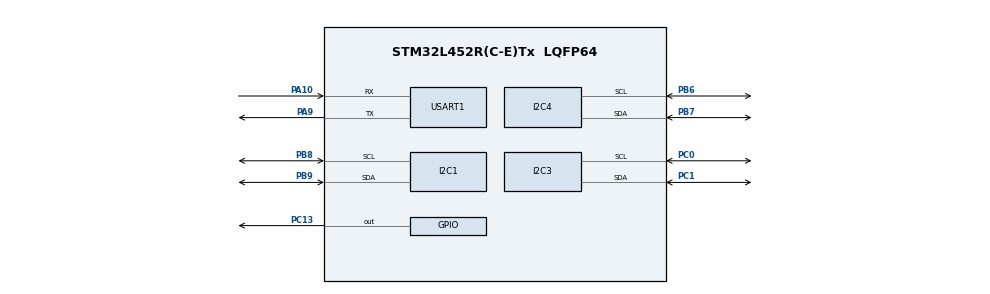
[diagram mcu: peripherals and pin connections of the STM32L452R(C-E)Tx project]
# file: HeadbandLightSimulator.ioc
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Mcu.Family=STM32L4
Mcu.Name=STM32L452R(C-E)Tx
Mcu.Package=LQFP64
NVIC.PriorityGroup=NVIC_PRIORITYGROUP_4
PA10.Mode=Asynchronous
PA10.Signal=USART1_RX
PA13\ (JTMS/SWDIO).Mode=Trace_Asynchronous_SW
PA13\ (JTMS/SWDIO).Signal=SYS_JTMS-SWDIO
PA14\ (JTCK/SWCLK).Mode=Trace_Asynchronous_SW
PA14\ (JTCK/SWCLK).Signal=SYS_JTCK-SWCLK
PA9.Mode=Asynchronous
PA9.Signal=USART1_TX
PB3\ (JTDO/TRACESWO).Mode=Trace_Asynchronous_SW
PB3\ (JTDO/TRACESWO).Signal=SYS_JTDO-SWO
PB6.Mode=I2C
PB6.Signal=I2C4_SCL
PB7.Mode=I2C
PB7.Signal=I2C4_SDA
PB8.Mode=I2C
PB8.Signal=I2C1_SCL
PB9.Mode=I2C
PB9.Signal=I2C1_SDA
PC0.Mode=I2C
PC0.Signal=I2C3_SCL
PC1.Mode=I2C
PC1.Signal=I2C3_SDA
PC13.Signal=GPIO_Output
ProjectManager.HeapSize=0x200
ProjectManager.StackSize=0x400
ProjectManager.TargetToolchain=STM32CubeIDE
RCC.HSE_VALUE=8000000
RCC.HSI48_VALUE=48000000
RCC.HSI_VALUE=16000000
RCC.LSE_VALUE=32768
RCC.MSI_VALUE=4000000
RCC.VCOOutputFreq_Value=32000000
USART1.VirtualMode-Asynchronous=VM_ASYNC
board=custom

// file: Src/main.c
/* USER CODE BEGIN Header */
/**
  ******************************************************************************
  * @file           : main.c
  * @brief          : Main program body
  ******************************************************************************
  * @attention
  *
  * <h2><center>&copy; Copyright (c) 2021 STMicroelectronics.
  * All rights reserved.</center></h2>
  *
  * This software component is licensed by ST under BSD 3-Clause license,
  * the "License"; You may not use this file except in compliance with the
  * License. You may obtain a copy of the License at:
  *                        opensource.org/licenses/BSD-3-Clause
  *
  ******************************************************************************
  */
/* USER CODE END Header */
#include "main.h"
#include "i2c.h"
#include "usart.h"
#include "gpio.h"

/* USER CODE BEGIN Includes */
#include "__ExegerGeneric.h"
#include "_OPT3001.h"
/* USER CODE END Includes */

void SystemClock_Config(void);
/* USER CODE BEGIN PFP */

OPT3001 opt1;
OPT3001 opt2;
OPT3001 opt3;
OPT3001 opt4;
OPT3001 opt5;
OPT3001 opt6;
OPT3001 opt7;
OPT3001 opt8;
OPT3001 opt9;
OPT3001 opt10;

/* USER CODE END PFP */

int main(void)
{

  /* MCU Configuration--------------------------------------------------------*/

  /* Reset of all peripherals, Initializes the Flash interface and the Systick. */
  HAL_Init();

  /* Configure the system clock */
  SystemClock_Config();

  /* Initialize all configured peripherals */
  MX_GPIO_Init();
  MX_I2C1_Init();
  MX_I2C3_Init();
  MX_USART1_UART_Init();
  MX_I2C4_Init();
  /* USER CODE BEGIN 2 */

  TRACE("[Starting...]\r\n");

OPT3001_InitDevice(&opt1, &hi2c1, 0b1000111<<1, 0b1000111<<1);
OPT3001_InitDevice(&opt2, &hi2c1, 0b1000110<<1, 0b1000110<<1);
OPT3001_InitDevice(&opt3, &hi2c1, 0b1000100<<1, 0b1000100<<1);
OPT3001_InitDevice(&opt4, &hi2c1, 0b1000101<<1, 0b1000101<<1);
OPT3001_InitDevice(&opt5, &hi2c4, 0b1000100<<1, 0b1000100<<1);
OPT3001_InitDevice(&opt6, &hi2c4, 0b1000111<<1 , 0b1000111<<1);
OPT3001_InitDevice(&opt7, &hi2c3, 0b1000111<<1, 0b1000111<<1);
OPT3001_InitDevice(&opt8, &hi2c3, 0b1000110<<1, 0b1000110<<1);
OPT3001_InitDevice(&opt9, &hi2c3, 0b1000100<<1, 0b1000100<<1);
OPT3001_InitDevice(&opt10, &hi2c3, 0b1000101<<1, 0b1000101<<1);

//OPT3001_SetState(&opt1, OPT3001_INITIATE);

  /* USER CODE END 2 */

  /* Infinite loop */
  /* USER CODE BEGIN WHILE */
  while (1)
  {

	 OPT3001_StateMachine(&opt1);
	 OPT3001_StateMachine(&opt2);
	 OPT3001_StateMachine(&opt3);
	 OPT3001_StateMachine(&opt4);
	 OPT3001_StateMachine(&opt5);
	 OPT3001_StateMachine(&opt6);
	 OPT3001_StateMachine(&opt7);
	 OPT3001_StateMachine(&opt8);
	 OPT3001_StateMachine(&opt9);
	 OPT3001_StateMachine(&opt10);

	 //
	 if(opt1.tState == OPT3001_DONE)
	 {
	 	printf("OPT1:%lf\n", opt1.currentLux);
	 	opt1.sStatus = OPT3001_INITIATE;
	 	HAL_GPIO_TogglePin(GPIOC, GPIO_PIN_13);
	 	HAL_Delay(20);
	 }

	 if(opt2.tState == OPT3001_DONE)
	 {
	 	printf("OPT2:%lf\n", opt2.currentLux);
	 	opt2.sStatus = OPT3001_INITIATE;
	 	HAL_Delay(20);
	 }
	 if(opt3.tState == OPT3001_DONE)
	 {
	 	printf("OPT3:%lf\n", opt3.currentLux);
	 	opt3.sStatus = OPT3001_INITIATE;
	 	HAL_Delay(20);
	 }
	 if(opt4.tState == OPT3001_DONE)
	 {
	 	printf("OPT4:%lf\n", opt4.currentLux);
	 	opt4.sStatus = OPT3001_INITIATE;
	 	HAL_Delay(20);
	 }
	 if(opt5.tState == OPT3001_DONE)
	 {
	 	printf("OPT5:%lf\n", opt5.currentLux);
	 	opt5.sStatus = OPT3001_INITIATE;
	 	HAL_Delay(20);
	 }
	 if(opt6.tState == OPT3001_DONE)
	 {
	 	printf("OPT6:%lf\n", opt6.currentLux);
	 	opt6.sStatus = OPT3001_INITIATE;
	 	HAL_Delay(20);
	 }
	 if(opt7.tState == OPT3001_DONE)
	 {
	 	printf("OPT7:%lf\n", opt7.currentLux);
	 	opt7.sStatus = OPT3001_INITIATE;
	 	HAL_Delay(20);
	 }
	 if(opt8.tState == OPT3001_DONE)
	 {
	 	printf("OPT8:%lf\n", opt8.currentLux);
	 	opt8.sStatus = OPT3001_INITIATE;
	 	HAL_Delay(20);
	 }
	 if(opt9.tState == OPT3001_DONE)
	 {
	 	printf("OPT9:%lf\n", opt9.currentLux);
	 	opt9.sStatus = OPT3001_INITIATE;
	 	HAL_Delay(20);
	 }
	 if(opt10.tState == OPT3001_DONE)
	 {
	 	printf("OPT10:%lf\n", opt10.currentLux);
	 	opt10.sStatus = OPT3001_INITIATE;
	 	HAL_Delay(20);
	 }
    /* USER CODE END WHILE */

  }
}

void SystemClock_Config(void)
{
  RCC_OscInitTypeDef RCC_OscInitStruct = {0};
  RCC_ClkInitTypeDef RCC_ClkInitStruct = {0};
  RCC_PeriphCLKInitTypeDef PeriphClkInit = {0};

  /** Initializes the RCC Oscillators according to the specified parameters
  * in the RCC_OscInitTypeDef structure.
  */
  RCC_OscInitStruct.OscillatorType = RCC_OSCILLATORTYPE_MSI;
  RCC_OscInitStruct.MSIState = RCC_MSI_ON;
  RCC_OscInitStruct.MSICalibrationValue = 0;
  RCC_OscInitStruct.MSIClockRange = RCC_MSIRANGE_6;
  RCC_OscInitStruct.PLL.PLLState = RCC_PLL_NONE;
  if (HAL_RCC_OscConfig(&RCC_OscInitStruct) != HAL_OK)
  {
    Error_Handler();
  }
  /** Initializes the CPU, AHB and APB buses clocks
  */
  RCC_ClkInitStruct.ClockType = RCC_CLOCKTYPE_HCLK|RCC_CLOCKTYPE_SYSCLK
                              |RCC_CLOCKTYPE_PCLK1|RCC_CLOCKTYPE_PCLK2;
  RCC_ClkInitStruct.SYSCLKSource = RCC_SYSCLKSOURCE_MSI;
  RCC_ClkInitStruct.AHBCLKDivider = RCC_SYSCLK_DIV1;
  RCC_ClkInitStruct.APB1CLKDivider = RCC_HCLK_DIV1;
  RCC_ClkInitStruct.APB2CLKDivider = RCC_HCLK_DIV1;

  if (HAL_RCC_ClockConfig(&RCC_ClkInitStruct, FLASH_LATENCY_0) != HAL_OK)
  {
    Error_Handler();
  }
  PeriphClkInit.PeriphClockSelection = RCC_PERIPHCLK_USART1|RCC_PERIPHCLK_I2C1
                              |RCC_PERIPHCLK_I2C4|RCC_PERIPHCLK_I2C3;
  PeriphClkInit.Usart1ClockSelection = RCC_USART1CLKSOURCE_PCLK2;
  PeriphClkInit.I2c1ClockSelection = RCC_I2C1CLKSOURCE_PCLK1;
  PeriphClkInit.I2c3ClockSelection = RCC_I2C3CLKSOURCE_PCLK1;
  PeriphClkInit.I2c4ClockSelection = RCC_I2C4CLKSOURCE_PCLK1;
  if (HAL_RCCEx_PeriphCLKConfig(&PeriphClkInit) != HAL_OK)
  {
    Error_Handler();
  }
  /** Configure the main internal regulator output voltage
  */
  if (HAL_PWREx_ControlVoltageScaling(PWR_REGULATOR_VOLTAGE_SCALE1) != HAL_OK)
  {
    Error_Handler();
  }
}

void Error_Handler(void)
{
}

/************************ (C) COPYRIGHT STMicroelectronics *****END OF FILE****/
